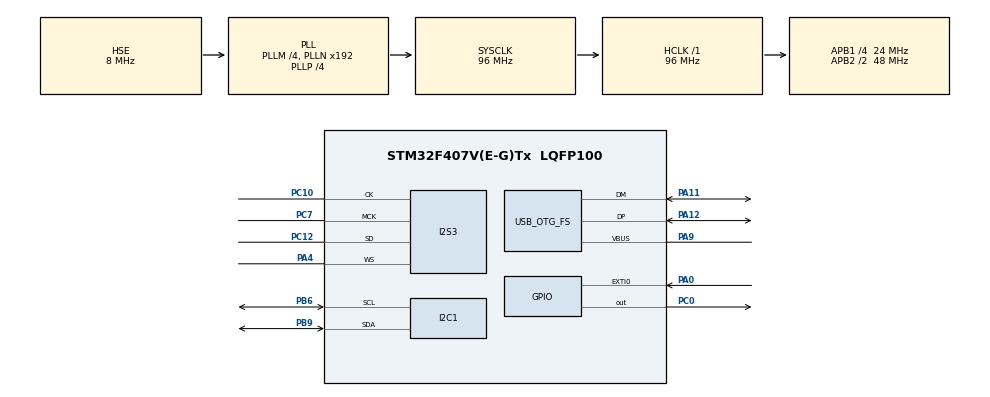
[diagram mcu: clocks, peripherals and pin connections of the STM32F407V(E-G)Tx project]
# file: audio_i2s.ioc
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Dma.Request0=SPI3_TX
Dma.SPI3_TX.0.Direction=DMA_MEMORY_TO_PERIPH
Dma.SPI3_TX.0.FIFOMode=DMA_FIFOMODE_ENABLE
Dma.SPI3_TX.0.FIFOThreshold=DMA_FIFO_THRESHOLD_FULL
Dma.SPI3_TX.0.Instance=DMA1_Stream5
Dma.SPI3_TX.0.MemBurst=DMA_MBURST_SINGLE
Dma.SPI3_TX.0.MemDataAlignment=DMA_MDATAALIGN_HALFWORD
Dma.SPI3_TX.0.MemInc=DMA_MINC_ENABLE
Dma.SPI3_TX.0.Mode=DMA_CIRCULAR
Dma.SPI3_TX.0.PeriphBurst=DMA_PBURST_SINGLE
Dma.SPI3_TX.0.PeriphDataAlignment=DMA_PDATAALIGN_HALFWORD
Dma.SPI3_TX.0.PeriphInc=DMA_PINC_DISABLE
Dma.SPI3_TX.0.Priority=DMA_PRIORITY_LOW
FATFS._USE_LFN=1
I2S3.AudioFreq=I2S_AUDIOFREQ_44K
I2S3.ErrorAudioFreq=1.45 %
I2S3.FullDuplexMode=I2S_FULLDUPLEXMODE_DISABLE
I2S3.Instance=SPI$Index
I2S3.RealAudioFreq=44.642 KHz
I2S3.VirtualMode=I2S_MODE_MASTER
Mcu.Family=STM32F4
Mcu.Name=STM32F407V(E-G)Tx
Mcu.Package=LQFP100
NVIC.DMA1_Stream5_IRQn=true\:0\:0\:false\:false\:true\:false\:true\:true
NVIC.EXTI0_IRQn=true\:0\:0\:false\:false\:true\:true\:true\:true
NVIC.OTG_FS_IRQn=true\:0\:0\:false\:false\:true\:true\:true\:true
NVIC.PriorityGroup=NVIC_PRIORITYGROUP_0
PA0-WKUP.GPIO_PuPd=GPIO_PULLDOWN
PA0-WKUP.Signal=GPXTI0
PA11.Mode=Host_Only
PA11.Signal=USB_OTG_FS_DM
PA12.Mode=Host_Only
PA12.Signal=USB_OTG_FS_DP
PA4.Mode=Half_Duplex_Master
PA4.Signal=I2S3_WS
PA9.Mode=Activate_VBUS
PA9.Signal=USB_OTG_FS_VBUS
PB6.Mode=I2C
PB6.Signal=I2C1_SCL
PB9.Mode=I2C
PB9.Signal=I2C1_SDA
PC0.Signal=GPIO_Output
PC10.Mode=Half_Duplex_Master
PC10.Signal=I2S3_CK
PC12.Mode=Half_Duplex_Master
PC12.Signal=I2S3_SD
PC7.Mode=Master_Clock_Activated
PC7.Signal=I2S3_MCK
PH0-OSC_IN.Mode=HSE-External-Oscillator
PH0-OSC_IN.Signal=RCC_OSC_IN
PH1-OSC_OUT.Mode=HSE-External-Oscillator
PH1-OSC_OUT.Signal=RCC_OSC_OUT
ProjectManager.HeapSize=0x200
ProjectManager.StackSize=0x400
ProjectManager.TargetToolchain=STM32CubeIDE
RCC.48MHZClocksFreq_Value=48000000
RCC.AHBFreq_Value=96000000
RCC.APB1CLKDivider=RCC_HCLK_DIV4
RCC.APB1Freq_Value=24000000
RCC.APB1TimFreq_Value=48000000
RCC.APB2CLKDivider=RCC_HCLK_DIV2
RCC.APB2Freq_Value=48000000
RCC.APB2TimFreq_Value=96000000
RCC.CortexFreq_Value=96000000
RCC.HCLKFreq_Value=96000000
RCC.HSE_VALUE=8000000
RCC.HSI_VALUE=16000000
RCC.LSE_VALUE=32768
RCC.PLLI2SN=160
RCC.PLLM=4
RCC.PLLP=RCC_PLLP_DIV4
RCC.PLLQ=8
RCC.SYSCLKFreq_VALUE=96000000
RCC.SYSCLKSource=RCC_SYSCLKSOURCE_PLLCLK
RCC.VCOOutputFreq_Value=384000000
USB_HOST.BSP.number=1
USB_HOST.USBH_HandleTypeDef-MSC_FS=hUsbHostFS
USB_HOST.VirtualModeFS=Msc
USB_HOST0.BSP.STBoard=false
USB_HOST0.BSP.api=Unknown
USB_HOST0.BSP.instance=PC0
USB_HOST0.BSP.ip=GPIO
USB_HOST0.BSP.mode=Output
USB_HOST0.BSP.name=Drive_VBUS_FS
USB_HOST0.BSP.solution=PC0
USB_OTG_FS.VirtualMode=Host_Only
USB_OTG_FS.phy_itface=HCD_PHY_EMBEDDED
VP_CRC_VS_CRC.Mode=CRC_Activate
VP_FATFS_VS_USB.Mode=USB
VP_PDM2PCM_VS_PDM2PCM.Mode=PDM2PCM_Channel
VP_USB_HOST_VS_USB_HOST_MSC_FS.Mode=MSC_FS
board=STM32F407G-DISC1

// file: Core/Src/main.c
/* USER CODE BEGIN Header */
/**
  ******************************************************************************
  * @file           : main.c
  * @brief          : Main program body
  ******************************************************************************
  * @attention
  *
  * Copyright (c) 2026 STMicroelectronics.
  * All rights reserved.
  *
  * This software is licensed under terms that can be found in the LICENSE file
  * in the root directory of this software component.
  * If no LICENSE file comes with this software, it is provided AS-IS.
  *
  ******************************************************************************
  */
/* USER CODE END Header */
#include "main.h"
#include "fatfs.h"
#include "pdm2pcm_glo.h"
#include "usb_host.h"

/* USER CODE BEGIN Includes */
#include "waveplayer.h"
#include "AUDIO.h"
#include "LCD1602.h"
#include "microphone.h"
#include "recorder.h"
#include "chord.h"
#include "flash_recorder.h"
#include <stdbool.h>
#include <stdint.h>
#include <stdlib.h>
#include <string.h>
#include <math.h>
/* USER CODE END Includes */

/* USER CODE BEGIN PTD */
typedef enum { APP_STATE_PLAYING = 0, APP_STATE_MUTED } AppState_t;
typedef enum {
    APP_MODE_GENERATOR = 0,
    APP_MODE_TUNER,
    APP_MODE_CHORD,
    APP_MODE_ARPEGGIO,
    APP_MODE_WARMUP,
    APP_MODE_RECORDER,
    APP_MODE_COUNT
} AppMode_t;
/* USER CODE END PTD */

/* USER CODE BEGIN PD */
#define NUM_NOTES    7u
#define NUM_OCTAVES  4u
#define BASE_OCTAVE  2u
/* USER CODE END PD */

CRC_HandleTypeDef hcrc;

I2C_HandleTypeDef hi2c1;

I2S_HandleTypeDef hi2s3;
DMA_HandleTypeDef hdma_spi3_tx;

/* USER CODE BEGIN PV */
/* Frequency table: centihz (Hz×100), octaves 2-5, notes C..B */
const uint32_t TONE_FREQUENCIES[NUM_OCTAVES][NUM_NOTES] = {
    {  6541,  7342,  8241,  8731,  9800, 11000, 12347 },  /* octave 2 */
    { 13082, 14683, 16482, 17462, 19600, 22000, 24694 },  /* octave 3 */
    { 26163, 29366, 32963, 34923, 39200, 44000, 49388 },  /* octave 4 */
    { 52326, 58733, 65927, 69846, 78400, 88000, 98776 },  /* octave 5 */
};
const char *NOTE_NAMES[NUM_NOTES] = { "Ut","Re","Mi","Fa","So","La","Si" };

volatile uint8_t currentNote   = 5u;   /* La/A — A4=440 Hz */
volatile uint8_t currentOctave = 2u;   /* index 2 = octave 4 */
uint8_t          currentVolume = 50u;
uint8_t          currentPreset = 0u;
AppState_t       appState      = APP_STATE_PLAYING;
AppMode_t        appMode       = APP_MODE_GENERATOR;

uint8_t barHeights[LCD_COLS] = { 0 };  /* EQ bar heights for row 3 */

/* -----------------------------------------------------------------------
 * Arpeggiator state (chord mode, keys 1-7)
 * --------------------------------------------------------------------- */
typedef enum { ARP_IDLE = 0, ARP_PLAYING, ARP_REST } ArpState_t;
typedef struct { uint8_t oct; uint8_t note; } ArpNote_t;

#define ARP_NOTE_MS   800u   /* each note duration (slowed from 500 ms) */
#define ARP_REST_MS  1500u   /* silence between repetitions */
#define ARP_REPS        2u   /* total number of repetitions */

/* Diatonic chords in C major — {octave index, note index (0=C..6=B)} */
static const ArpNote_t ARP_CHORDS[7][3] = {
    {{2u,0u},{2u,2u},{2u,4u}},  /* I:   C4-E4-G4 */
    {{2u,1u},{2u,3u},{2u,5u}},  /* II:  D4-F4-A4 */
    {{2u,2u},{2u,4u},{2u,6u}},  /* III: E4-G4-B4 */
    {{2u,3u},{2u,5u},{3u,0u}},  /* IV:  F4-A4-C5 */
    {{2u,4u},{2u,6u},{3u,1u}},  /* V:   G4-B4-D5 */
    {{2u,5u},{3u,0u},{3u,2u}},  /* VI:  A4-C5-E5 */
    {{2u,6u},{3u,1u},{3u,3u}},  /* VII: B4-D5-F5 */
};
static const char *ARP_CHORD_NAMES[7] = {"C","Dm","Em","F","G","Am","Bdim"};

static ArpState_t arp_state     = ARP_IDLE;
static uint32_t   arp_timer     = 0u;
static uint8_t    arp_note_idx  = 0u;
static uint8_t    arp_rep       = 0u;
static uint8_t    arp_chord_idx = 0u;

/* -----------------------------------------------------------------------
 * Chord-mode strum — keys 1-7 trigger a quick 3-note strum (non-blocking).
 * Each note plays for STRUM_NOTE_MS ms then advances to the next chord tone.
 * After all 3 notes, synthesis returns to silent (mic listening) mode.
 * --------------------------------------------------------------------- */
typedef enum { STRUM_IDLE = 0, STRUM_PLAYING } StrumState_t;
static StrumState_t strum_state     = STRUM_IDLE;
static uint32_t     strum_timer     = 0u;
static uint8_t      strum_note_idx  = 0u;
static uint8_t      strum_chord_idx = 0u;
#define STRUM_NOTE_MS  150u   /* ms per strum note */

/* -----------------------------------------------------------------------
 * Recording countdown — 3-second delay before capture begins
 * --------------------------------------------------------------------- */
static bool     rec_counting      = false;
static uint8_t  rec_countdown     = 0u;
static uint32_t rec_count_timer   = 0u;

/* -----------------------------------------------------------------------
 * Vocal Warm-up mode — 4 standard exercises (relative scale degrees)
 *
 * Degree encoding (maps to the 7-note scale used by NOTE_NAMES[]):
 *   0 = Ut/C, 1 = Re/D, 2 = Mi/E, 3 = Fa/F, 4 = Sol/G,
 *   5 = La/A, 6 = Si/B   — all in octave index 2 (displayed C4-B4)
 *   7 = Ut/C upper octave — octave index 3 (displayed C5)
 * 255 = end-of-sequence sentinel
 *
 * FSM states:
 *   WU_IDLE    — not playing
 *   WU_PLAYING — note sounds for WU_NOTE_MS (600 ms)
 *   WU_GAP     — 100 ms muted micro-pause between notes (simulates articulation)
 *   WU_REST    — WU_REST_MS silence after sequence completes
 * --------------------------------------------------------------------- */
#define WU_NOTE_MS        600u   /* note-on duration                         */
#define WU_GAP_MS         100u   /* inter-note muted gap (articulation)       */
#define WU_REST_MS        800u   /* post-sequence silence                     */
#define WU_TRANS_REST_MS  500u   /* pause between transposed repetitions      */
#define WU_TRANS_MAX        3u   /* steps to ascend before turning back       */
#define WU_SEQ_COUNT        7u
/* Sequences at indices 2-4 use the transposition loop */
#define wu_has_transpose(i) ((i) >= 2u && (i) <= 4u)

static const uint8_t WARMUP_1[] = {0, 1, 2, 3, 4, 3, 2, 1, 0, 255};   /* 5-tone scale up+down  */
static const uint8_t WARMUP_2[] = {0, 2, 4, 7, 4, 2, 0, 255};          /* Octave arpeggio       */
static const uint8_t WARMUP_3[] = {0, 2, 4, 2, 0, 255};                 /* Major triad bounce    */
static const uint8_t WARMUP_4[] = {4, 3, 2, 1, 0, 255};                 /* 5-tone descending     */
static const uint8_t WARMUP_5[] = {7, 4, 2, 0, 255};                    /* Octave drop triad     */
static const uint8_t WARMUP_6[] = {0, 7, 0, 255};                       /* Root-Octave-Root      */
static const uint8_t WARMUP_7[] = {2, 1, 0, 255};                       /* Descending 3rd        */

static const uint8_t * const WARMUP_LIST[WU_SEQ_COUNT] = {
    WARMUP_1, WARMUP_2, WARMUP_3, WARMUP_4, WARMUP_5, WARMUP_6, WARMUP_7
};
static const char * const WARMUP_NAMES[WU_SEQ_COUNT] = {
    "5-Tone Scale  ", "Octave Arpeg  ", "Major Triad   ",
    "5-Tone Desc   ", "Octave Drop   ", "Root-Oct-Root ", "Descend 3rd   "
};

typedef enum { WU_IDLE = 0, WU_PLAYING, WU_GAP, WU_TRANS_REST, WU_REST } WarmupState_t;
static WarmupState_t wu_state      = WU_IDLE;
static uint32_t      wu_timer      = 0u;
static uint8_t       wu_seq_idx    = 0u;
static uint8_t       wu_note_idx   = 0u;
static uint8_t       wu_transpose  = 0u;   /* current scale-degree offset */
static int8_t        wu_trans_dir  = 1;    /* +1 ascending, -1 descending */
/* USER CODE END PV */

void SystemClock_Config(void);
static void MX_GPIO_Init(void);
static void MX_DMA_Init(void);
static void MX_I2C1_Init(void);
static void MX_I2S3_Init(void);
static void MX_CRC_Init(void);
void MX_USB_HOST_Process(void);

/* USER CODE BEGIN PFP */
static void Keypad_GPIO_Init(void);
static char Keypad_Scan(void);
static void Handle_Key(char key);
static void Task_Keypad(void);
static void Task_Audio(void);
static void Task_Arpeggiator(void);
static void Task_LCD(void);
static void Task_LCD_Tuner(void);
static void Task_LCD_Chord(void);
static void Task_LCD_Arpeggio(void);
static void Task_LCD_Recorder(void);
static uint8_t Calculate_Real_Volume(uint8_t displayVol);
static void    Apply_Volume(void);
static void    Update_LEDs(void);
static void    Task_Strum(void);
static void    Task_RecCountdown(void);
static void    Task_Warmup(void);
static void    Task_LCD_Warmup(void);
static void    wu_apply_degree(uint8_t deg);
/* USER CODE END PFP */

int main(void)
{

  /* MCU Configuration--------------------------------------------------------*/

  /* Reset of all peripherals, Initializes the Flash interface and the Systick. */
  HAL_Init();

  /* Configure the system clock */
  SystemClock_Config();

  /* Initialize all configured peripherals */
  MX_GPIO_Init();
  MX_DMA_Init();
  MX_I2C1_Init();
  MX_I2S3_Init();
  MX_FATFS_Init();
  MX_USB_HOST_Init();
  MX_CRC_Init();
  MX_PDM2PCM_Init();
  /* USER CODE BEGIN 2 */
  Keypad_GPIO_Init();

  LCD_Init();
  LCD_LoadGraphIcons();

  AUDIO_PLAYER_Init();
  AUDIO_OUT_SetFrequency(44100u);
  AUDIO_PLAYER_SetPreset(currentPreset);
  AUDIO_PLAYER_Start(0u);
  Apply_Volume();

  MIC_Init();
  MIC_Start();

  REC_Init();
  CHORD_Init();
  FLASH_REC_Init();
  /* USER CODE END 2 */

  /* Infinite loop */
  while (1)
  {
    MX_USB_HOST_Process();

    /* USER CODE BEGIN 3 */
    Task_Audio();
    Task_Keypad();
    Task_Arpeggiator();
    Task_Strum();
    Task_RecCountdown();
    Task_Warmup();
    MIC_Process();
    CHORD_Process();
    switch (appMode) {
        case APP_MODE_TUNER:    Task_LCD_Tuner();    break;
        case APP_MODE_CHORD:    Task_LCD_Chord();    break;
        case APP_MODE_ARPEGGIO: Task_LCD_Arpeggio(); break;
        case APP_MODE_WARMUP:   Task_LCD_Warmup();   break;
        case APP_MODE_RECORDER: Task_LCD_Recorder(); break;
        default:                Task_LCD();          break;
    }
  }
  /* USER CODE END 3 */
}

void SystemClock_Config(void)
{
  RCC_OscInitTypeDef RCC_OscInitStruct = {0};
  RCC_ClkInitTypeDef RCC_ClkInitStruct = {0};

  /** Configure the main internal regulator output voltage
  */
  __HAL_RCC_PWR_CLK_ENABLE();
  __HAL_PWR_VOLTAGESCALING_CONFIG(PWR_REGULATOR_VOLTAGE_SCALE1);
  /** Initializes the RCC Oscillators according to the specified parameters
  * in the RCC_OscInitTypeDef structure.
  */
  RCC_OscInitStruct.OscillatorType = RCC_OSCILLATORTYPE_HSE;
  RCC_OscInitStruct.HSEState = RCC_HSE_ON;
  RCC_OscInitStruct.PLL.PLLState = RCC_PLL_ON;
  RCC_OscInitStruct.PLL.PLLSource = RCC_PLLSOURCE_HSE;
  RCC_OscInitStruct.PLL.PLLM = 4;
  RCC_OscInitStruct.PLL.PLLN = 192;
  RCC_OscInitStruct.PLL.PLLP = RCC_PLLP_DIV4;
  RCC_OscInitStruct.PLL.PLLQ = 8;
  if (HAL_RCC_OscConfig(&RCC_OscInitStruct) != HAL_OK)
  {
    Error_Handler();
  }
  /** Initializes the CPU, AHB and APB buses clocks
  */
  RCC_ClkInitStruct.ClockType = RCC_CLOCKTYPE_HCLK|RCC_CLOCKTYPE_SYSCLK
                              |RCC_CLOCKTYPE_PCLK1|RCC_CLOCKTYPE_PCLK2;
  RCC_ClkInitStruct.SYSCLKSource = RCC_SYSCLKSOURCE_PLLCLK;
  RCC_ClkInitStruct.AHBCLKDivider = RCC_SYSCLK_DIV1;
  RCC_ClkInitStruct.APB1CLKDivider = RCC_HCLK_DIV4;
  RCC_ClkInitStruct.APB2CLKDivider = RCC_HCLK_DIV2;

  if (HAL_RCC_ClockConfig(&RCC_ClkInitStruct, FLASH_LATENCY_3) != HAL_OK)
  {
    Error_Handler();
  }
}

static void MX_CRC_Init(void)
{

  hcrc.Instance = CRC;
  if (HAL_CRC_Init(&hcrc) != HAL_OK)
  {
    Error_Handler();
  }
  __HAL_CRC_DR_RESET(&hcrc);

}

static void MX_I2C1_Init(void)
{

  hi2c1.Instance = I2C1;
  hi2c1.Init.ClockSpeed = 100000;
  hi2c1.Init.DutyCycle = I2C_DUTYCYCLE_2;
  hi2c1.Init.OwnAddress1 = 0;
  hi2c1.Init.AddressingMode = I2C_ADDRESSINGMODE_7BIT;
  hi2c1.Init.DualAddressMode = I2C_DUALADDRESS_DISABLE;
  hi2c1.Init.OwnAddress2 = 0;
  hi2c1.Init.GeneralCallMode = I2C_GENERALCALL_DISABLE;
  hi2c1.Init.NoStretchMode = I2C_NOSTRETCH_DISABLE;
  if (HAL_I2C_Init(&hi2c1) != HAL_OK)
  {
    Error_Handler();
  }

}

static void MX_I2S3_Init(void)
{

  hi2s3.Instance = SPI3;
  hi2s3.Init.Mode = I2S_MODE_MASTER_TX;
  hi2s3.Init.Standard = I2S_STANDARD_PHILIPS;
  hi2s3.Init.DataFormat = I2S_DATAFORMAT_16B;
  hi2s3.Init.MCLKOutput = I2S_MCLKOUTPUT_ENABLE;
  hi2s3.Init.AudioFreq = I2S_AUDIOFREQ_44K;
  hi2s3.Init.CPOL = I2S_CPOL_LOW;
  hi2s3.Init.ClockSource = I2S_CLOCK_PLL;
  hi2s3.Init.FullDuplexMode = I2S_FULLDUPLEXMODE_DISABLE;
  if (HAL_I2S_Init(&hi2s3) != HAL_OK)
  {
    Error_Handler();
  }

}

static void MX_DMA_Init(void)
{

  /* DMA controller clock enable */
  __HAL_RCC_DMA1_CLK_ENABLE();

  /* DMA interrupt init */
  /* DMA1_Stream5_IRQn interrupt configuration */
  HAL_NVIC_SetPriority(DMA1_Stream5_IRQn, 0, 0);
  HAL_NVIC_EnableIRQ(DMA1_Stream5_IRQn);

}

static void MX_GPIO_Init(void)
{
  GPIO_InitTypeDef GPIO_InitStruct = {0};

  /* GPIO Ports Clock Enable */
  __HAL_RCC_GPIOH_CLK_ENABLE();
  __HAL_RCC_GPIOC_CLK_ENABLE();
  __HAL_RCC_GPIOA_CLK_ENABLE();
  __HAL_RCC_GPIOB_CLK_ENABLE();

  /*Configure GPIO pin Output Level */
  HAL_GPIO_WritePin(GPIOC, GPIO_PIN_0, GPIO_PIN_RESET);

  /*Configure GPIO pin : PC0 */
  GPIO_InitStruct.Pin = GPIO_PIN_0;
  GPIO_InitStruct.Mode = GPIO_MODE_OUTPUT_PP;
  GPIO_InitStruct.Pull = GPIO_NOPULL;
  GPIO_InitStruct.Speed = GPIO_SPEED_FREQ_LOW;
  HAL_GPIO_Init(GPIOC, &GPIO_InitStruct);

  /*Configure GPIO pin : PA0 */
  GPIO_InitStruct.Pin = GPIO_PIN_0;
  GPIO_InitStruct.Mode = GPIO_MODE_IT_RISING;
  GPIO_InitStruct.Pull = GPIO_PULLDOWN;
  HAL_GPIO_Init(GPIOA, &GPIO_InitStruct);

  /* EXTI interrupt init*/
  HAL_NVIC_SetPriority(EXTI0_IRQn, 0, 0);
  HAL_NVIC_EnableIRQ(EXTI0_IRQn);

}

/* USER CODE BEGIN 4 */

/* -----------------------------------------------------------------------
 * Keypad GPIO — PE8-PE11 rows (out), PE12-PE15 cols (in, pull-up)
 * --------------------------------------------------------------------- */
static const uint16_t KP_ROWS[4] = { GPIO_PIN_8, GPIO_PIN_9, GPIO_PIN_10, GPIO_PIN_11 };
static const uint16_t KP_COLS[4] = { GPIO_PIN_12, GPIO_PIN_13, GPIO_PIN_14, GPIO_PIN_15 };
static const char KP_MAP[4][4]   = {
    { '1','2','3','A' }, { '4','5','6','B' },
    { '7','8','9','C' }, { '*','0','#','D' }
};

static void Keypad_GPIO_Init(void)
{
    GPIO_InitTypeDef g = {0};
    __HAL_RCC_GPIOD_CLK_ENABLE();
    __HAL_RCC_GPIOE_CLK_ENABLE();

    /* LEDs: PD12 green, PD13 orange, PD14 red, PD15 blue */
    HAL_GPIO_WritePin(GPIOD, GPIO_PIN_12|GPIO_PIN_13|GPIO_PIN_14|GPIO_PIN_15, GPIO_PIN_RESET);
    g.Pin = GPIO_PIN_12|GPIO_PIN_13|GPIO_PIN_14|GPIO_PIN_15;
    g.Mode = GPIO_MODE_OUTPUT_PP; g.Pull = GPIO_NOPULL; g.Speed = GPIO_SPEED_FREQ_LOW;
    HAL_GPIO_Init(GPIOD, &g);

    /* Keypad rows — output, start HIGH (idle) */
    HAL_GPIO_WritePin(GPIOE, GPIO_PIN_8|GPIO_PIN_9|GPIO_PIN_10|GPIO_PIN_11, GPIO_PIN_SET);
    g.Pin  = GPIO_PIN_8|GPIO_PIN_9|GPIO_PIN_10|GPIO_PIN_11;
    g.Mode = GPIO_MODE_OUTPUT_PP; g.Pull = GPIO_NOPULL;
    HAL_GPIO_Init(GPIOE, &g);

    /* Keypad cols — input, pull-up */
    g.Pin  = GPIO_PIN_12|GPIO_PIN_13|GPIO_PIN_14|GPIO_PIN_15;
    g.Mode = GPIO_MODE_INPUT; g.Pull = GPIO_PULLUP;
    HAL_GPIO_Init(GPIOE, &g);
}

static char Keypad_Scan(void)
{
    for (uint8_t r = 0u; r < 4u; r++) {
        for (uint8_t i = 0u; i < 4u; i++) HAL_GPIO_WritePin(GPIOE, KP_ROWS[i], GPIO_PIN_SET);
        HAL_GPIO_WritePin(GPIOE, KP_ROWS[r], GPIO_PIN_RESET);
        for (volatile uint32_t d = 0u; d < 200u; d++) {}
        for (uint8_t c = 0u; c < 4u; c++) {
            if (HAL_GPIO_ReadPin(GPIOE, KP_COLS[c]) == GPIO_PIN_RESET) {
                for (uint8_t i = 0u; i < 4u; i++) HAL_GPIO_WritePin(GPIOE, KP_ROWS[i], GPIO_PIN_SET);
                return KP_MAP[r][c];
            }
        }
    }
    return 0;
}

/*
 * Keypad — all 16 keys assigned, same in every mode unless noted
 * ┌────┬────┬────┬────┐
 * │ 1  │ 2  │ 3  │ A  │   1-7  notes Ut Re Mi Fa Sol La Si
 * │ Ut │ Re │ Mi │Vol+│   8    octave cycle  2→3→4→5→2
 * ├────┼────┼────┼────┤   9    mute toggle
 * │ 4  │ 5  │ 6  │ B  │   A    volume +5 %
 * │ Fa │Sol │ La │Vol-│   B    volume -5 %
 * ├────┼────┼────┼────┤   C    preset cycle (Sine/Sqr/Saw/Clar/Organ)
 * │ 7  │ 8  │ 9  │ C  │   D    mode cycle  Gen→Tuner→Chord→Recorder
 * │ Si │Oct │Mut │Prs │
 * ├────┼────┼────┼────┤   Bottom row (* 0 # ) = Recorder controls
 * │ *  │ 0  │ #  │ D  │   *    Record toggle (start / stop recording)
 * │Rec │Play│Stop│Mode│   0    Play  toggle (start / stop playback)
 * └────┴────┴────┴────┘   #    Stop  all    (abort record or play)
 */
static void Handle_Key(char key)
{
    switch (key) {
        /* ── Notes 1-7 ─────────────────────────────────────────── */
        case '1': case '2': case '3': case '4':
        case '5': case '6': case '7':
            if (appMode == APP_MODE_ARPEGGIO) {
                /* Arpeggio mode: start non-blocking diatonic arpeggio (800 ms/note) */
                arp_chord_idx = (uint8_t)(key - '1');
                arp_note_idx  = 0u;
                arp_rep       = 0u;
                arp_state     = ARP_PLAYING;
                currentNote   = ARP_CHORDS[arp_chord_idx][0u].note;
                currentOctave = ARP_CHORDS[arp_chord_idx][0u].oct;
                AUDIO_PLAYER_SetSilence(false);
                AUDIO_PLAYER_NoteChange();
                arp_timer = HAL_GetTick();
            } else if (appMode == APP_MODE_WARMUP) {
                /* Warmup mode: keys 1-7 trigger one of the 7 sequences */
                wu_seq_idx   = (uint8_t)(key - '1');
                wu_note_idx  = 0u;
                wu_transpose = 0u;
                wu_trans_dir = 1;
                wu_state     = WU_PLAYING;
                wu_apply_degree(WARMUP_LIST[wu_seq_idx][0]);
                wu_timer = HAL_GetTick();
            } else {
                currentNote = (uint8_t)(key - '1');
                for (int i = 0; i < (int)LCD_COLS; i++) barHeights[i] = 0u;
                AUDIO_PLAYER_NoteChange();
            }
            break;

        /* ── 8: octave cycle UP ──────────────────────────────────── */
        case '8':
            currentOctave = (currentOctave + 1u) % NUM_OCTAVES;
            for (int i = 0; i < (int)LCD_COLS; i++) barHeights[i] = 0u;
            AUDIO_PLAYER_NoteChange();
            break;

        /* ── 9: mute toggle ─────────────────────────────────────── */
        case '9':
            appState = (appState == APP_STATE_PLAYING) ? APP_STATE_MUTED : APP_STATE_PLAYING;
            Apply_Volume();
            break;

        /* ── A: volume +5 % ─────────────────────────────────────── */
        case 'A':
            if (currentVolume <= 95u) currentVolume += 5u;
            Apply_Volume();
            break;

        /* ── B: volume -5 % ─────────────────────────────────────── */
        case 'B':
            if (currentVolume >= 5u) currentVolume -= 5u;
            Apply_Volume();
            break;

        /* ── C: preset cycle (or erase all flash recordings in recorder mode) */
        case 'C':
            currentPreset = (currentPreset + 1u) % NUM_PRESETS;
            AUDIO_PLAYER_SetPreset(currentPreset);
            AUDIO_PLAYER_NoteChange();
            break;

        /* ── *: Record toggle (recorder mode: 3-s countdown first) ── */
        case '*':
            if (rec_counting) {
                /* Cancel the pending countdown */
                rec_counting = false;
            } else if (REC_GetState() == REC_STATE_RECORDING) {
                REC_StopRecord();
                /* Auto-save to flash when in recorder mode and flash has a free slot */
                if (appMode == APP_MODE_RECORDER &&
                    REC_GetSamplesRecorded() > 0u &&
                    !FLASH_REC_IsFull()) {
                    /* Mute audio during blocking flash erase + write (~1-2 s) */
                    AUDIO_PLAYER_SetVolume(0u);
                    FLASH_REC_SaveFromRecorder();
                    Apply_Volume();

                }
            } else {
                if (appMode == APP_MODE_RECORDER) {
                    /* Start 3-second countdown then begin capture */
                    rec_counting    = true;
                    rec_countdown   = 3u;
                    rec_count_timer = HAL_GetTick();
                } else {
                    REC_StartRecord();
                }
            }
            break;

        /* ── 0: Play toggle ─────────────────────────────────────── */
        case '0':
            if (REC_GetState() == REC_STATE_PLAYING) {
                REC_StopPlay();
            } else if (appMode == APP_MODE_RECORDER) {
                if (REC_GetSamplesRecorded() == 0u) break;  /* nothing recorded */
                uint8_t slot = FLASH_REC_GetLastSavedSlot();
                if (slot != 0xFFu) {
                    uint32_t n         = FLASH_REC_GetSlotSampleCount(slot);
                    const int16_t *ptr = FLASH_REC_GetSlotDataPtr(slot);
                    if (ptr != NULL && n > 0u) REC_LoadExternal(ptr, n);
                }
                REC_StartPlay();
            } else {
                REC_StartPlay();
            }
            break;

        /* ── #: Stop all (abort record or playback) ─────────────── */
        case '#':
            REC_StopRecord();
            REC_StopPlay();
            break;
        case 'D': {
            AppMode_t prev = appMode;
            appMode = (AppMode_t)((appMode + 1u) % APP_MODE_COUNT);
            LCD_Clear();
            if (prev == APP_MODE_RECORDER) {
                rec_counting = false;   /* cancel any pending countdown */
                REC_StopRecord();
                REC_StopPlay();
            }
            /* Stop arpeggiator when leaving arpeggio mode */
            if (prev == APP_MODE_ARPEGGIO) {
                arp_state = ARP_IDLE;
            }
            /* Stop chord strum when leaving chord mode */
            if (prev == APP_MODE_CHORD) {
                strum_state = STRUM_IDLE;
            }
            /* Stop warmup sequence when leaving warmup mode */
            if (prev == APP_MODE_WARMUP) {
                wu_state     = WU_IDLE;
                wu_transpose = 0u;
                wu_trans_dir = 1;
                AUDIO_PLAYER_SetSilence(true);
            }
            /* Reset chord detector when entering chord mode — prevents stale display */
            if (appMode == APP_MODE_CHORD) {
                CHORD_Init();
            }
            AUDIO_PLAYER_SetSilence(appMode != APP_MODE_GENERATOR);
            Update_LEDs();
            break;
        }
        default: break;
    }
}

static void Task_Keypad(void)
{
    static uint32_t lastScan  = 0u;
    static char     prevKey   = 0;
    static char     confirmed = 0;
    if (HAL_GetTick() - lastScan < 20u) return;
    lastScan = HAL_GetTick();
    char key = Keypad_Scan();
    if (key != 0 && key == prevKey && key != confirmed) { confirmed = key; Handle_Key(key); }
    if (key == 0) confirmed = 0;
    prevKey = key;
}

static void Task_Audio(void)
{
    AUDIO_PLAYER_Process(true);
}

/* -----------------------------------------------------------------------
 * Arpeggiator — advances through diatonic chord notes on a 500 ms clock.
 * Two full repetitions (note1→note2→note3→1.5 s rest) then stops.
 * --------------------------------------------------------------------- */
static void Task_Arpeggiator(void)
{
    if (arp_state == ARP_IDLE) return;

    uint32_t elapsed = HAL_GetTick() - arp_timer;

    if (arp_state == ARP_PLAYING) {
        if (elapsed < ARP_NOTE_MS) return;

        arp_note_idx++;
        if (arp_note_idx >= 3u) {
            /* All three notes played — enter rest */
            arp_note_idx = 0u;
            arp_rep++;
            AUDIO_PLAYER_SetSilence(true);
            if (arp_rep >= ARP_REPS) {
                arp_state = ARP_IDLE;
                return;
            }
            arp_state = ARP_REST;
            arp_timer = HAL_GetTick();
        } else {
            /* Advance to next note in the chord */
            currentNote   = ARP_CHORDS[arp_chord_idx][arp_note_idx].note;
            currentOctave = ARP_CHORDS[arp_chord_idx][arp_note_idx].oct;
            AUDIO_PLAYER_SetSilence(false);
            AUDIO_PLAYER_NoteChange();
            arp_timer = HAL_GetTick();
        }
    } else if (arp_state == ARP_REST) {
        if (elapsed < ARP_REST_MS) return;

        /* Start next repetition */
        arp_state     = ARP_PLAYING;
        arp_note_idx  = 0u;
        currentNote   = ARP_CHORDS[arp_chord_idx][0u].note;
        currentOctave = ARP_CHORDS[arp_chord_idx][0u].oct;
        AUDIO_PLAYER_SetSilence(false);
        AUDIO_PLAYER_NoteChange();
        arp_timer = HAL_GetTick();
    }
}

/* -----------------------------------------------------------------------
 * Chord mode strum — advances through 3 chord tones at STRUM_NOTE_MS each.
 * Runs only when appMode == APP_MODE_CHORD; called from main loop.
 * After all 3 notes, returns to silence so the microphone can listen again.
 * --------------------------------------------------------------------- */
static void Task_Strum(void)
{
    if (strum_state == STRUM_IDLE) return;
    if (HAL_GetTick() - strum_timer < STRUM_NOTE_MS) return;

    strum_note_idx++;
    if (strum_note_idx >= 3u) {
        /* All three chord tones played — silence synthesis, mic can listen */
        strum_state = STRUM_IDLE;
        AUDIO_PLAYER_SetSilence(true);
        return;
    }

    /* Advance to next chord tone */
    currentNote   = ARP_CHORDS[strum_chord_idx][strum_note_idx].note;
    currentOctave = ARP_CHORDS[strum_chord_idx][strum_note_idx].oct;
    AUDIO_PLAYER_SetSilence(false);
    AUDIO_PLAYER_NoteChange();
    strum_timer = HAL_GetTick();
}

/* -----------------------------------------------------------------------
 * Generator LCD (20×4): note+freq / preset / volume bar / EQ
 * --------------------------------------------------------------------- */
static void Task_LCD(void)
{
    static uint32_t lastUpdate = 0u;
    if (HAL_GetTick() - lastUpdate < 100u) return;
    lastUpdate = HAL_GetTick();

    Task_Audio();

    float freqHz = (float)TONE_FREQUENCIES[currentOctave][currentNote] / 100.0f;
    int   octNum = (int)(BASE_OCTAVE + currentOctave);
    bool  playing = (appState == APP_STATE_PLAYING);

    /* Row 0: note + frequency */
    char row0[21];
    snprintf(row0, sizeof(row0), "%-2s%d    %8.2f Hz  ",
             NOTE_NAMES[currentNote], octNum, freqHz);
    LCD_SetCursor(0, 0); LCD_WriteString(row0);
    Task_Audio();

    /* Row 1: preset or MUTED */
    char row1[21];
    if (playing)
        snprintf(row1, sizeof(row1), "Timbre: %-12s", AUDIO_PRESETS[currentPreset].fullname);
    else
        snprintf(row1, sizeof(row1), "%-20s", "    ** MUTED **");
    LCD_SetCursor(1, 0); LCD_WriteString(row1);
    Task_Audio();

    /* Row 2: volume % + 8-char block bar */
    char vhdr[13];
    snprintf(vhdr, sizeof(vhdr), "Volume: %3d%%", (int)currentVolume);
    LCD_SetCursor(2, 0); LCD_WriteString(vhdr);
    uint8_t filled = playing ? (uint8_t)(currentVolume * 8u / 100u) : 0u;
    for (uint8_t s = 0u; s < 8u; s++)
        LCD_SendData((s < filled) ? 0xFFu : ' ');
    Task_Audio();

    /* Row 3: animated EQ bar graph */
    LCD_SetCursor(3, 0);
    uint8_t noteOctIdx = (uint8_t)(currentOctave * NUM_NOTES + currentNote);
    uint8_t peakCol    = (uint8_t)(1u + noteOctIdx * 18u / (NUM_OCTAVES * NUM_NOTES - 1u));
    uint8_t peakH = 0u;
    if (playing && currentVolume > 0u) {
        peakH = (uint8_t)(currentVolume * 8u / 100u);
        if (peakH == 0u) peakH = 1u;
    }
    for (int col = 0; col < (int)LCD_COLS; col++) {
        int dist = abs(col - (int)peakCol);
        uint8_t target = 0u;
        if      (dist == 0) target = peakH;
        else if (dist == 1) target = (peakH > 2u) ? peakH - 2u : 0u;
        else if (dist == 2) target = (peakH > 4u) ? peakH - 4u : 0u;
        if (playing && target > 0u) {
            int jitter = (rand() % 3) - 1;
            int t = (int)target + jitter;
            target = (t > 0) ? (uint8_t)t : 0u;
        }
        if (barHeights[col] < target)      barHeights[col] = target;
        else if (barHeights[col] > 0u)     barHeights[col]--;
        LCD_SendData((barHeights[col] > 0u && barHeights[col] <= 8u)
                     ? barHeights[col] - 1u : ' ');
        Task_Audio();
    }
}

/* -----------------------------------------------------------------------
 * Guitar String Tuner LCD (20×4)
 *
 * Detects which of the 6 standard guitar strings is being played and
 * shows how far it is from the correct pitch.
 *
 * Standard tuning (thinnest → thickest):
 *   String 1: E4  329.63 Hz
 *   String 2: B3  246.94 Hz
 *   String 3: G3  196.00 Hz
 *   String 4: D3  146.83 Hz
 *   String 5: A2  110.00 Hz
 *   String 6: E2   82.41 Hz
 *
 * Row 0: "== GUITAR TUNER ==  "
 * Row 1: "Str 1: E4  329.6 Hz "  — closest string + measured freq
 * Row 2: "Dev:  -14 cents     "  — deviation from that string's target
 * Row 3: " **** IN TUNE! **** "  — hint (changes slowly via state machine)
 *         "  >> RAISE UP !! >> "
 *         "  >> LOWER DN !! >> "
 *
 * Hint state machine (hysteresis)
 * --------------------------------
 * The displayed hint only changes after HINT_ENTER_CNT consecutive frames
 * (each 350 ms) agree on the new state.  This prevents the display from
 * flickering between "IN TUNE / RAISE / LOWER" as the note decays.
 * In-tune zone: ±30 cents.  Must leave ±45 cents to exit that zone.
 * --------------------------------------------------------------------- */
static void Task_LCD_Tuner(void)
{
    static const float  STR_FREQ[6] = { 329.63f, 246.94f, 196.00f,
                                         146.83f, 110.00f,  82.41f };
    static const char * STR_NOTE[6] = { "E4","B3","G3","D3","A2","E2" };

    typedef enum { HINT_NONE=0, HINT_IN_TUNE, HINT_RAISE, HINT_LOWER } HintState_t;
#define HINT_ENTER_CNT   4
#define IN_TUNE_CENTS   30.0f
#define EXIT_TUNE_CENTS 45.0f
#define LOCK_CENTS       3.0f
#define LOCK_MS        500u

    static uint32_t    lastUpdate  = 0u;
    static float       smoothFreq  = 0.0f;
    static int         stableCount = 0;
    static HintState_t hintState   = HINT_NONE;
    static uint8_t     hintPending = 0u;

    /* Sticky string selection — requires 3 consecutive frames to switch */
    static uint8_t  bestStr      = 0u;
    static uint8_t  strCand      = 0u;
    static uint8_t  strCandCnt   = 0u;

    /* Visual lock-on: ±3 cents held for 500 ms */
    static float    lockRef      = 0.0f;
    static uint32_t lockStart    = 0u;
    static bool     isLocked     = false;

    /* EMA-smoothed cents for the needle display.
     * smoothFreq already low-passes the raw frequency; smooth_cents adds a
     * second EMA pass on the derived deviation.  Together they eliminate the
     * high-frequency jitter that comes from frame-to-frame detection noise. */
    static float    smooth_cents  = 0.0f;
    static bool     cents_valid   = false;

#define TUNER_ALPHA      0.20f
#define TUNER_STABLE_MIN 2
/* Needle display parameters */
#define CENTS_EMA_ALPHA  0.20f   /* smoothing factor: lower = smoother, more lag */
#define NEEDLE_DEADZONE  4.5f    /* ±cents within which the centre '+' is shown  */

    if (HAL_GetTick() - lastUpdate < 200u) return;
    lastUpdate = HAL_GetTick();

    Task_Audio();

    float rawFreq  = MIC_GetFrequency();
    bool  sigValid = MIC_IsSignalValid();

    if (sigValid && rawFreq > 50.0f) {
        smoothFreq  = (smoothFreq < 1.0f) ? rawFreq
                      : (TUNER_ALPHA * rawFreq + (1.0f - TUNER_ALPHA) * smoothFreq);
        if (stableCount < 30) stableCount++;
    } else {
        stableCount  = 0;
        smoothFreq   = 0.0f;
        isLocked     = false;
    }
    bool stable = (stableCount >= TUNER_STABLE_MIN);

    /* ── Sticky string selection ────────────────────────────────── */
    if (stable) {
        uint8_t newCand = 0u;
        float   bestDist = 1e9f;
        for (uint8_t s = 0u; s < 6u; s++) {
            float d = fabsf(log2f(smoothFreq / STR_FREQ[s]));
            if (d < bestDist) { bestDist = d; newCand = s; }
        }
        if (newCand == bestStr) {
            strCandCnt = 0u;
        } else if (newCand == strCand) {
            if (++strCandCnt >= 3u) {
                bestStr    = newCand;
                strCandCnt = 0u;
                isLocked   = false;
            }
        } else {
            strCand    = newCand;
            strCandCnt = 1u;
        }
    }

    float cents = stable ? (1200.0f * log2f(smoothFreq / STR_FREQ[bestStr])) : 0.0f;

    /* ── EMA smoothing on cents for jitter-free needle display ─────
     * Exponential Moving Average: new = α·raw + (1-α)·prev
     * α = CENTS_EMA_ALPHA (0.20) gives a time constant of ~5 frames
     * = ~1 s at 200 ms/frame, which is visually very stable.
     * Reset to raw on signal loss so the needle snaps home cleanly. */
    if (stable && smoothFreq > 0.0f) {
        if (!cents_valid) {
            smooth_cents = cents;   /* seed with first valid reading */
            cents_valid  = true;
        } else {
            smooth_cents = CENTS_EMA_ALPHA * cents
                         + (1.0f - CENTS_EMA_ALPHA) * smooth_cents;
        }
    } else {
        smooth_cents = 0.0f;
        cents_valid  = false;
    }

    /* ── Visual lock-on: ±3 cents for 500 ms ────────────────────── */
    if (stable) {
        if (fabsf(cents - lockRef) <= LOCK_CENTS) {
            if (!isLocked && (HAL_GetTick() - lockStart >= LOCK_MS))
                isLocked = true;
        } else {
            lockRef   = cents;
            lockStart = HAL_GetTick();
            isLocked  = false;
        }
    }

    /* ── Hint state machine ─────────────────────────────────────── */
    HintState_t desired = HINT_NONE;
    if (stable) {
        if (hintState == HINT_IN_TUNE)
            desired = (fabsf(cents) <= EXIT_TUNE_CENTS) ? HINT_IN_TUNE
                      : (cents < 0.0f ? HINT_RAISE : HINT_LOWER);
        else
            desired = (fabsf(cents) <= IN_TUNE_CENTS) ? HINT_IN_TUNE
                      : (cents < 0.0f ? HINT_RAISE  : HINT_LOWER);
    }
    if (desired == hintState) {
        hintPending = 0u;
    } else if (++hintPending >= HINT_ENTER_CNT) {
        hintState   = desired;
        hintPending = 0u;
    }

    /* ── Row 0 ───────────────────────────────────────────────────── */
    LCD_SetCursor(0, 0);
    LCD_WriteString("== GUITAR TUNER ==  ");

    Task_Audio();

    /* ── Row 1: string name (letter only) + frequency (no Hz) ───── */
    char row1[21];
    if (stable)
        snprintf(row1, sizeof(row1), "Note: %-3s   %7.2f Hz ",
                 STR_NOTE[bestStr], smoothFreq);
    else
        snprintf(row1, sizeof(row1), "%-20s", "Play a string...    ");
    LCD_SetCursor(1, 0); LCD_WriteString(row1);

    Task_Audio();

    /* ── Row 2: graphical needle meter (EMA-smoothed) ───────────────
     * Uses smooth_cents (double-EMA filtered) to eliminate jitter.
     *
     * Layout (20 chars, 0-based):
     *   Position 10 = '|'  — perfect pitch reference tick
     *   Position N  = 'O'  — needle, driven by smooth_cents
     *   Dead-zone ±NEEDLE_DEADZONE cents → show '+' (or '*' if locked)
     *   at position 10 instead of 'O', preventing the centre marker
     *   from flickering when the string is nearly in tune.
     *
     *   Scale: 9.5 positions per 100 cents (±100 cents = ±9.5 columns)
     * ─────────────────────────────────────────────────────────── */
    {
        char needle[21];
        memset(needle, ' ', 20);
        needle[20] = '\0';
        needle[10] = '|';   /* permanent centre reference tick */

        if (cents_valid) {
            if (fabsf(smooth_cents) <= NEEDLE_DEADZONE) {
                /* Dead-zone: show a stable centre character */
                needle[10] = isLocked ? '*' : '+';
            } else {
                /* Map smooth_cents to a needle column (0-19) */
                float offset = smooth_cents * 9.5f / 100.0f;
                int npos = 10 + (int)(offset + (offset >= 0.0f ? 0.5f : -0.5f));
                if (npos < 0)  npos = 0;
                if (npos > 19) npos = 19;
                needle[npos] = 'O';
                needle[10]   = '|';   /* keep centre tick visible */
            }
        }
        LCD_SetCursor(2, 0); LCD_WriteString(needle);
    }

    Task_Audio();

    /* ── Row 3: locked indicator overrides hint ──────────────────── */
    const char *hint;
    if (isLocked)
        hint = " **** LOCKED **** ";
    else {
        switch (hintState) {
            case HINT_IN_TUNE: hint = " **** IN TUNE! **** "; break;
            case HINT_RAISE:   hint = "  >> RAISE UP !! >> "; break;
            case HINT_LOWER:   hint = "  >> LOWER DN !! >> "; break;
            default:           hint = "  -- play string -- "; break;
        }
    }
    LCD_SetCursor(3, 0); LCD_WriteString(hint);
}

/* -----------------------------------------------------------------------
 * Chord LCD (20×4)
 *
 * Idle/detecting:
 *   Row 0: "   Chord Detector   "
 *   Row 1:  <chord name centred, blank until first valid detection>
 *   Row 2:  blank
 *   Row 3:  blank
 *
 * Arpeggiator active:
 *   Row 0: "   Chord Detector   "
 *   Row 1:  "  Arp: Em   [1/2]  "
 *   Row 2:  "  Now: E4          "
 *   Row 3:   blank
 * --------------------------------------------------------------------- */
static void Task_LCD_Chord(void)
{
    static uint32_t lastUpdate = 0u;
    if (HAL_GetTick() - lastUpdate < 200u) return;
    lastUpdate = HAL_GetTick();

    Task_Audio();

    /* Row 0: static header */
    LCD_SetCursor(0, 0);
    LCD_WriteString("   Chord Detector   ");

    Task_Audio();

    ChordResult_t res = CHORD_GetResult();

    /* Row 1: detected chord name centred */
    if (res.valid) {
        int len   = (int)strlen(res.name);
        int left  = (20 - len) / 2;
        int right = 20 - left - len;
        char row1[21];
        snprintf(row1, sizeof(row1), "%*s%s%*s", left, "", res.name, right, "");
        LCD_SetCursor(1, 0); LCD_WriteString(row1);
    } else {
        LCD_SetCursor(1, 0); LCD_WriteString("                    ");
    }

    Task_Audio();

    /* Row 2: blank */
    LCD_SetCursor(2, 0); LCD_WriteString("                    ");

    Task_Audio();

    /* Row 3: usage hint */
    LCD_SetCursor(3, 0); LCD_WriteString("  Play a chord...   ");
}

/* -----------------------------------------------------------------------
 * Arpeggiator LCD (20×4) — dedicated mode, keys 1-7 trigger diatonic arps
 * --------------------------------------------------------------------- */
static void Task_LCD_Arpeggio(void)
{
    static const char NL[7] = {'C','D','E','F','G','A','B'};

    static uint32_t lastUpdate = 0u;
    if (HAL_GetTick() - lastUpdate < 200u) return;
    lastUpdate = HAL_GetTick();

    Task_Audio();
    LCD_SetCursor(0, 0); LCD_WriteString("                    ");
    Task_Audio();

    if (arp_state != ARP_IDLE) {
        char row1[21];
        snprintf(row1, sizeof(row1), "  Chord: %-11s", ARP_CHORD_NAMES[arp_chord_idx]);
        LCD_SetCursor(1, 0); LCD_WriteString(row1);
        Task_Audio();
        char row2[21];
        snprintf(row2, sizeof(row2), "  Note:  %c%u          ",
                 NL[currentNote], (unsigned)(BASE_OCTAVE + currentOctave));
        LCD_SetCursor(2, 0); LCD_WriteString(row2);
    } else {
        LCD_SetCursor(1, 0); LCD_WriteString("   Tuning Fork      ");
        Task_Audio();
        LCD_SetCursor(2, 0); LCD_WriteString("   Press 1-7        ");
    }

    Task_Audio();
    LCD_SetCursor(3, 0); LCD_WriteString("                    ");
}

/* -----------------------------------------------------------------------
 * Recorder LCD (20×4)
 *
 * Row 0: "== RECORDER ========"
 * Row 1: "Status: RECORDING..."   or IDLE / READY / PLAYING
 * Row 2: "Len: 1.5s /  2.0s  "   (recorded / max) or playback position
 * Row 3: "[0]Rec [*]Play [D]>>"
 * --------------------------------------------------------------------- */
static void Task_LCD_Recorder(void)
{
    static uint32_t lastUpdate = 0u;
    if (HAL_GetTick() - lastUpdate < 100u) return;
    lastUpdate = HAL_GetTick();

    Task_Audio();
    Update_LEDs();   /* keep LED colour consistent with recorder state */

    RecorderState_t st = REC_GetState();

    /* Row 0 */
    LCD_SetCursor(0, 0);
    LCD_WriteString("== RECORDER ========");

    Task_Audio();

    /* Row 1: status */
    char row1[21];
    if (rec_counting) {
        snprintf(row1, sizeof(row1), "Starting in...  [%u] ", (unsigned)rec_countdown);
    } else {
        switch (st) {
            case REC_STATE_IDLE:      snprintf(row1, sizeof(row1), "%-20s", "Status: IDLE        "); break;
            case REC_STATE_RECORDING: snprintf(row1, sizeof(row1), "%-20s", "Status: RECORDING..."); break;
            case REC_STATE_READY:     snprintf(row1, sizeof(row1), "%-20s", "Status: READY       "); break;
            case REC_STATE_PLAYING:   snprintf(row1, sizeof(row1), "%-20s", "Status: PLAYING...  "); break;
            default:                  snprintf(row1, sizeof(row1), "%-20s", "                    "); break;
        }
    }
    LCD_SetCursor(1, 0); LCD_WriteString(row1);

    Task_Audio();

    LCD_SetCursor(2, 0); LCD_WriteString("                    ");

    Task_Audio();

    /* Row 3: keypad hint */
    LCD_SetCursor(3, 0);
    if (rec_counting)
        LCD_WriteString("[*]Cancel           ");
    else
        LCD_WriteString("[*]Record  [0]Play  ");
}

/* -----------------------------------------------------------------------
 * Volume helpers
 * --------------------------------------------------------------------- */
static uint8_t Calculate_Real_Volume(uint8_t displayVol)
{
    if (displayVol == 0u) return 0u;
    uint8_t real = (uint8_t)(45u + displayVol / 2u);
    return (real > 100u) ? 100u : real;
}

static void Apply_Volume(void)
{
    uint8_t codecVol = (appState == APP_STATE_PLAYING)
                       ? Calculate_Real_Volume(currentVolume) : 0u;
    AUDIO_PLAYER_SetVolume(codecVol);
    Update_LEDs();
}

static void Update_LEDs(void)
{
    RecorderState_t rs = REC_GetState();

    /* Green: synthesis playing OR recorder playback */
    bool green = ((appState == APP_STATE_PLAYING) &&
                  (appMode == APP_MODE_GENERATOR || appMode == APP_MODE_TUNER))
                 || (rs == REC_STATE_PLAYING);
    HAL_GPIO_WritePin(GPIOD, GPIO_PIN_12, green ? GPIO_PIN_SET : GPIO_PIN_RESET);

    /* Red: muted OR actively recording */
    bool red = (appState == APP_STATE_MUTED) || (rs == REC_STATE_RECORDING);
    HAL_GPIO_WritePin(GPIOD, GPIO_PIN_14, red ? GPIO_PIN_SET : GPIO_PIN_RESET);

    /* Orange: tuner, chord, arpeggio, or warmup mode */
    HAL_GPIO_WritePin(GPIOD, GPIO_PIN_13,
        (appMode == APP_MODE_TUNER   || appMode == APP_MODE_CHORD ||
         appMode == APP_MODE_ARPEGGIO || appMode == APP_MODE_WARMUP)
        ? GPIO_PIN_SET : GPIO_PIN_RESET);

    /* Blue: recorder mode */
    HAL_GPIO_WritePin(GPIOD, GPIO_PIN_15,
        (appMode == APP_MODE_RECORDER) ? GPIO_PIN_SET : GPIO_PIN_RESET);
}

/* -----------------------------------------------------------------------
 * Task_RecCountdown — ticks once per second, fires REC_StartRecord at 0
 * Called from main loop; does nothing when rec_counting == false.
 * --------------------------------------------------------------------- */
static void Task_RecCountdown(void)
{
    if (!rec_counting) return;
    if (HAL_GetTick() - rec_count_timer < 1000u) return;

    rec_count_timer = HAL_GetTick();
    rec_countdown--;

    if (rec_countdown == 0u) {
        rec_counting     = false;
        REC_StartRecord();
    }
}

/* -----------------------------------------------------------------------
 * wu_apply_degree — play a note from a transposed scale degree
 *
 * total = deg + wu_transpose
 * note  = total % 7   (0=C..6=B in the 7-note diatonic scale)
 * oct   = 2 + total/7 (index 2=C4, 3=C5, 4=C6)
 * --------------------------------------------------------------------- */
static void wu_apply_degree(uint8_t deg)
{
    if (deg == 255u) return;
    uint8_t total = deg + wu_transpose;
    uint8_t note  = total % 7u;
    uint8_t oct   = 2u + total / 7u;
    if (oct >= NUM_OCTAVES) oct = NUM_OCTAVES - 1u;
    currentNote   = note;
    currentOctave = oct;
    AUDIO_PLAYER_SetSilence(false);
    AUDIO_PLAYER_NoteChange();
}

/* -----------------------------------------------------------------------
 * Task_Warmup — non-blocking FSM
 *
 * All sequences:   WU_PLAYING 600ms -> WU_GAP 100ms -> next note or end
 *                  end -> WU_REST 800ms -> WU_IDLE
 *
 * Sequences 3/4/5 also loop with transposition:
 *   end -> WU_TRANS_REST 500ms -> repeat at +1 step, up to +3, then back
 *   route: offset 0->1->2->3->2->1->0, then WU_REST
 * --------------------------------------------------------------------- */
static void Task_Warmup(void)
{
    if (wu_state == WU_IDLE) return;

    uint32_t elapsed = HAL_GetTick() - wu_timer;

    if (wu_state == WU_PLAYING) {
        if (elapsed < WU_NOTE_MS) return;
        AUDIO_PLAYER_SetSilence(true);
        wu_state = WU_GAP;
        wu_timer = HAL_GetTick();

    } else if (wu_state == WU_GAP) {
        if (elapsed < WU_GAP_MS) return;
        wu_note_idx++;
        uint8_t next_deg = WARMUP_LIST[wu_seq_idx][wu_note_idx];
        if (next_deg != 255u) {
            wu_apply_degree(next_deg);
            wu_state = WU_PLAYING;
        } else {
            /* Sequence finished */
            if (wu_has_transpose(wu_seq_idx)) {
                if (wu_trans_dir > 0) {
                    if (wu_transpose < WU_TRANS_MAX) {
                        wu_transpose++;
                    } else {
                        wu_trans_dir = -1;
                        wu_transpose--;
                    }
                    wu_state = WU_TRANS_REST;
                } else {
                    if (wu_transpose > 0u) {
                        wu_transpose--;
                        wu_state = WU_TRANS_REST;
                    } else {
                        wu_state = WU_REST;
                    }
                }
            } else {
                wu_state = WU_REST;
            }
        }
        wu_timer = HAL_GetTick();

    } else if (wu_state == WU_TRANS_REST) {
        if (elapsed < WU_TRANS_REST_MS) return;
        wu_note_idx = 0u;
        wu_apply_degree(WARMUP_LIST[wu_seq_idx][0]);
        wu_state = WU_PLAYING;
        wu_timer = HAL_GetTick();

    } else if (wu_state == WU_REST) {
        if (elapsed < WU_REST_MS) return;
        wu_state     = WU_IDLE;
        wu_transpose = 0u;
        wu_trans_dir = 1;
    }
}

/* -----------------------------------------------------------------------
 * Vocal Warm-Up LCD (20x4)
 *
 * Row 0: "  Vocal Warm-Up     "
 * Row 1: sequence name  or  "Press 1-7 to start  "
 * Row 2: current note + transpose indicator while playing
 * Row 3: "1-7: sequence       "
 * --------------------------------------------------------------------- */
static void Task_LCD_Warmup(void)
{
    static const char * const SOLFEGE[8] = {
        "Ut","Re","Mi","Fa","Sol","La","Si","Ut'"
    };

    static uint32_t lastUpdate = 0u;
    if (HAL_GetTick() - lastUpdate < 200u) return;
    lastUpdate = HAL_GetTick();

    Task_Audio();
    LCD_SetCursor(0, 0);
    LCD_WriteString("  Vocal Warm-Up     ");

    Task_Audio();

    char row1[21];
    if (wu_state != WU_IDLE)
        snprintf(row1, sizeof(row1), "%-20s", WARMUP_NAMES[wu_seq_idx]);
    else
        snprintf(row1, sizeof(row1), "%-20s", "Press 1-7 to start  ");
    LCD_SetCursor(1, 0); LCD_WriteString(row1);

    Task_Audio();

    char row2[21];
    if (wu_state == WU_PLAYING || wu_state == WU_GAP) {
        uint8_t raw = WARMUP_LIST[wu_seq_idx][wu_note_idx];
        uint8_t si  = (raw <= 7u) ? raw : 7u;
        if (wu_has_transpose(wu_seq_idx) && wu_transpose > 0u)
            snprintf(row2, sizeof(row2), "%-5s [%2u]  +%u         ",
                     SOLFEGE[si], (unsigned)(wu_note_idx + 1u),
                     (unsigned)wu_transpose);
        else
            snprintf(row2, sizeof(row2), "%-5s [%2u]             ",
                     SOLFEGE[si], (unsigned)(wu_note_idx + 1u));
    } else if (wu_state == WU_TRANS_REST) {
        snprintf(row2, sizeof(row2), "(transposing +%u)    ",
                 (unsigned)wu_transpose);
    } else if (wu_state == WU_REST) {
        snprintf(row2, sizeof(row2), "%-20s", "(rest...)           ");
    } else {
        snprintf(row2, sizeof(row2), "%-20s", "                    ");
    }
    LCD_SetCursor(2, 0); LCD_WriteString(row2);

    Task_Audio();
    LCD_SetCursor(3, 0);
    LCD_WriteString("1-7: sequence       ");
}

/* USER CODE END 4 */

void Error_Handler(void)
{
  __disable_irq();
  while (1)
  {
  }
}
